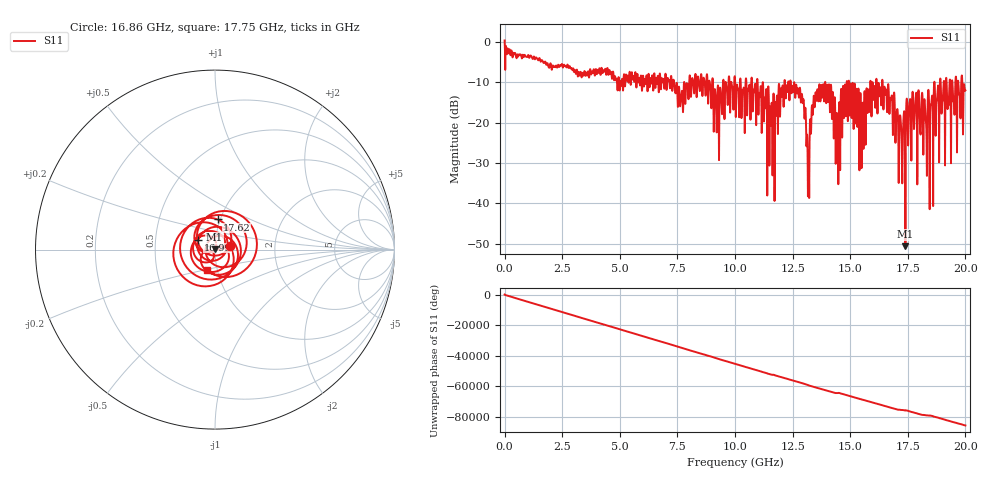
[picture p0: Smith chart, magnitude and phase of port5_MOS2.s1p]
! MS46122B
! 2250307/22442219
! 7/24/2025 12:39:51 PM
! C:\USERS\SPARKY\DOCUMENTS\VNA_DATA\JULY24_2025\295K\PORT5_MOS2.S1P
! CHANNEL.1
! TR.MEASUREMENT
! RAW.DATA
# GHZ S RI R 50.0
! FREQ.GHZ  S11RE  S11IM
!; PortSelection: Port_1
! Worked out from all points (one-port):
!   10001 points, 1 MHz to 20 GHz, reference 50 ohm
!   lowest |S11| = -50.6 dB at 17.4 GHz (marker M1), VSWR 1.01, Z = 49.7 + j0.12 ohm
!   |S11| at or under -10 dB: 11.21 GHz to 12.14 GHz (932 MHz wide, 7.98 % of centre); 12.57 GHz to 13.91 GHz (1.336 GHz wide, 10.1 % of centre); 16.41 GHz to 18.65 GHz (2.238 GHz wide, 12.8 % of centre) (the widest 3 of 66)
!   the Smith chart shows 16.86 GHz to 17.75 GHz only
!   S11 on the Smith chart (normalised r, x): 16.86 GHz: 1.18, +0.04; 16.99 GHz: 0.83, +0.09; 17.62 GHz: 0.97, +0.34; 17.75 GHz: 0.89, -0.20
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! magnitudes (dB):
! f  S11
! 1 MHz  0.4
! 2.501 GHz  -5.6
! 5.001 GHz  -11.6
! 7.501 GHz  -12.7
! 9.239 GHz  -12.6
! 10 GHz  -9.2
! 11.04 GHz  -13.3
! 11.64 GHz  -23.3
! 12.5 GHz  -11.1
! 12.9 GHz  -12.8
! 13.19 GHz  -27.0
! 13.58 GHz  -11.8
! 14.09 GHz  -10.6
! 14.47 GHz  -22.4
! 14.69 GHz  -11.0
! 15 GHz  -13.4
! 15.49 GHz  -29.7
! 16.05 GHz  -11.0
! 16.86 GHz  -21.5
! 16.99 GHz  -19.3
! 17.19 GHz  -19.2
! 17.4 GHz  -50.6
! 17.5 GHz  -21.4
! 17.62 GHz  -15.5
! 17.75 GHz  -18.4
! 18.37 GHz  -13.8
! 18.99 GHz  -15.6
! 20 GHz  -12.0
